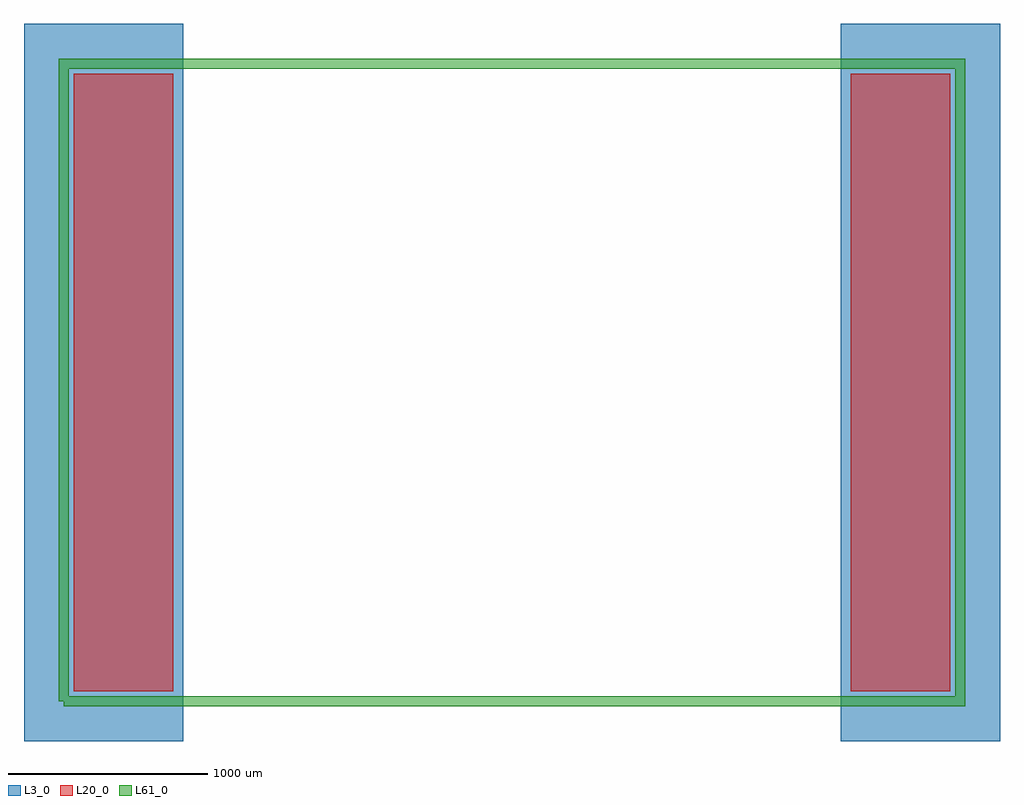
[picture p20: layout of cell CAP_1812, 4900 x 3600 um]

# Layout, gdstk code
import gdstk
lib = gdstk.Library(unit=1e-6, precision=1e-09)
def R(c, l, rs):  # rectangles x0, y0, x1, y1
    for r in rs: c.add(gdstk.rectangle(r[:2], r[2:], *l))
L3_0 = (3, 0)
L20_0 = (20, 0)
L61_0 = (61, 0)

cap_1812 = lib.new_cell('CAP_1812')
R(cap_1812, L3_0, [(-200,-200,600,3400), (3900,-200,4700,3400)])
R(cap_1812, L20_0, [(50,50,550,3150), (3950,50,4450,3150)])
cap_1812.add(gdstk.FlexPath([(0,0),(4500,0),(4500,3200),(0,3200),(0,0)], 50, ends="flush", simple_path=True, layer=61, datatype=0))  # L61_0

lib.write_gds('CAP_1812.gds')
